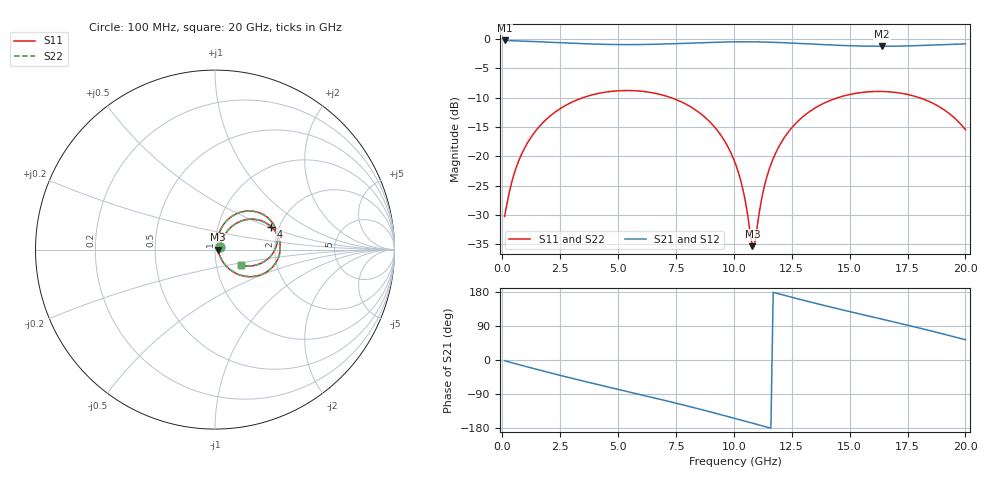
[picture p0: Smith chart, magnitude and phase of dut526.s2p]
! Touchstone file exported from HFSS 2026.1.0
!  File:  C:/ffzhzh/LocalFiles/Ansys_Project_Files/temp_train_TSV_RDL_526_1783111283_50312.aedt
!  Generated:  04:57:33 AM Jul  4, 2026
!  Design:  TSV_RDL
!  Project:  temp_train_TSV_RDL_526_1783111283_50312
! Variables:
!  h_bsmrdl = 2.9um
!  h_ox = 20um
!  h_rdl = 5um
!  h_sub = 96.71um
!  h_tmrdl = 2.63um
!  h_tsv = 96.71um
!  h_via = 3um
!  l_bsmrdl = 872.86um
!  l_sub = 4940.81um
!  l_tmrdl = 447.1um
!  m_sub = 200um
!  pitch = 38.76um
!  r_tsv = 7.72um
!  s_tmrdl = 10um
!  w_bsmrdl = 28.05um
!  w_sub = 500um
!  w_tmrdl = 16.56um
!  x_tsv_center1 = 455.38um
!  x_tsv_center2 = 1356.29um
!  x_tsv_center3 = 1819.95um
!  x_tsv_center4 = 2720.86um
!  x_tsv_center5 = 3184.52um
!  x_tsv_center6 = 4085.43um
# GHz S MA R 50.000000
! Terminal data exported
! Port[1] = TM_RDL1_1_T1
! Port[2] = TM_RDL5_1_T1
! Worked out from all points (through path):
!   200 points, 100 MHz to 20 GHz, reference 50 ohm
!   highest |S21| = -0.24 dB at 100 MHz (marker M1); lowest = -1.2 dB at 16.4 GHz (marker M2)
!   group delay of S21, straight-line fit = 42.5 ps
!   lowest |S11| = -35.3 dB at 10.8 GHz (marker M3), VSWR 1.03, Z = 51.7 - j0.132 ohm
!   |S11| at or under -10 dB: start of sweep to 3.479 GHz; 7.289 GHz to 14.49 GHz (7.2 GHz wide, 66.1 % of centre); 18.01 GHz to end of sweep
!   |S22| runs from -35.1 to -8.8 dB; largest |S21 - S12| = 3.5e-14
!   S11 on the Smith chart (normalised r, x): 100 MHz: 1.06, +0.03; 4 GHz: 1.82, +0.52; 20 GHz: 1.32, -0.23
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0.1  0.03075 24.7  0.9724 -1.8  0.9724 -1.8  0.03075 24.7
! Gamma 0 0 0 0
! Port Impedance 50 0 50 0
0.5  0.06989 54.0  0.9659 -8.6  0.9659 -8.6  0.06989 54.0
1.2  0.1413 55.4  0.9548 -20.0  0.9548 -20.0  0.1413 55.4
2.2  0.2319 45.2  0.9366 -35.9  0.9366 -35.9  0.2319 45.3
3.5  0.3173 28.5  0.9128 -55.7  0.9128 -55.7  0.3173 28.5
4  0.3388 21.8  0.9056 -63.0  0.9056 -63.0  0.3388 21.8
6.8  0.3377 -15.9  0.9046 -103.5  0.9046 -103.5  0.3377 -15.9
8.8  0.2112 -43.7  0.9338 -134.0  0.9338 -134.0  0.2112 -43.6
9.5  0.1453 -52.5  0.9424 -145.3  0.9424 -145.3  0.1454 -52.4
10.1  0.08315 -57.1  0.9464 -155.1  0.9464 -155.1  0.08322 -56.8
10.5  0.04112 -51.2  0.947 -161.7  0.947 -161.7  0.04129 -50.6
10.8  0.01716 -4.3  0.9462 -166.7  0.9462 -166.7  0.01761 -3.8
10.9  0.01798 31.0  0.9457 -168.3  0.9457 -168.3  0.01842 30.5
11.3  0.05372 74.1  0.9426 -175.0  0.9426 -175.0  0.05388 73.7
11.7  0.09569 75.8  0.9377 178.5  0.9377 178.5  0.09578 75.5
12.4  0.1658 69.1  0.926 167.2  0.926 167.2  0.1658 69.0
13.4  0.2506 56.0  0.9054 151.5  0.9054 151.5  0.2506 55.9
14.9  0.3332 35.6  0.8782 129.2  0.8782 129.2  0.3332 35.6
16.4  0.3573 15.7  0.8679 107.7  0.8679 107.7  0.3573 15.7
16.7  0.355 11.7  0.8684 103.4  0.8684 103.4  0.355 11.7
18.6  0.2832 -13.6  0.8881 75.5  0.8881 75.5  0.2832 -13.5
20  0.1688 -30.9  0.9093 53.4  0.9093 53.4  0.1689 -30.7
